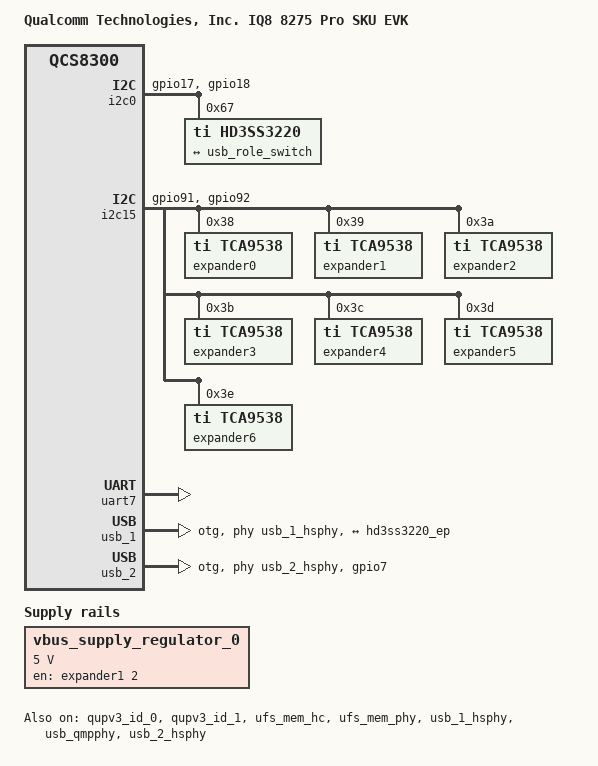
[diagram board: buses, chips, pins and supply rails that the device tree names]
// SPDX-License-Identifier: BSD-3-Clause
/*
 * Copyright (c) 2025 Qualcomm Innovation Center, Inc. All rights reserved.
 */

/dts-v1/;

#include <dt-bindings/gpio/gpio.h>
#include <dt-bindings/regulator/qcom,rpmh-regulator.h>
#include <dt-bindings/gpio/gpio.h>
#include <dt-bindings/spmi/spmi.h>
#include "qcs8300.dtsi"
#include "qcs8300-pmics.dtsi"

/delete-node/ &usb_1_dwc3;
/delete-node/ &usb_2_dwc3;
/ {
	model = "Qualcomm Technologies, Inc. IQ8 8275 Pro SKU EVK";
	compatible = "qcom,qcs8275-iq-8275-evk-pro-sku", "qcom,qcs8275", "qcom,qcs8300";

	qcom,msm-id = <675 0x10000>;
	qcom,board-id = <0x00010020 2>, <0x00010019 2>;

	aliases {
		serial0 = &uart7;
	};

	chosen {
		stdout-path = "serial0:115200n8";
	};
};

&apps_rsc {
	regulators-0 {
		compatible = "qcom,pmm8654au-rpmh-regulators";
		qcom,pmic-id = "a";

		vreg_l3a: ldo3 {
			regulator-name = "vreg_l3a";
			regulator-min-microvolt = <1200000>;
			regulator-max-microvolt = <1200000>;
			regulator-initial-mode = <RPMH_REGULATOR_MODE_HPM>;
			regulator-allow-set-load;
			regulator-allowed-modes = <RPMH_REGULATOR_MODE_LPM
						   RPMH_REGULATOR_MODE_HPM>;
		};

		vreg_l4a: ldo4 {
			regulator-name = "vreg_l4a";
			regulator-min-microvolt = <880000>;
			regulator-max-microvolt = <912000>;
			regulator-initial-mode = <RPMH_REGULATOR_MODE_HPM>;
			regulator-allow-set-load;
			regulator-allowed-modes = <RPMH_REGULATOR_MODE_LPM
						   RPMH_REGULATOR_MODE_HPM>;
		};

		vreg_l5a: ldo5 {
			regulator-name = "vreg_l5a";
			regulator-min-microvolt = <1200000>;
			regulator-max-microvolt = <1200000>;
			regulator-initial-mode = <RPMH_REGULATOR_MODE_HPM>;
			regulator-allow-set-load;
			regulator-allowed-modes = <RPMH_REGULATOR_MODE_LPM
						   RPMH_REGULATOR_MODE_HPM>;
		};

		vreg_l6a: ldo6 {
			regulator-name = "vreg_l6a";
			regulator-min-microvolt = <880000>;
			regulator-max-microvolt = <912000>;
			regulator-initial-mode = <RPMH_REGULATOR_MODE_HPM>;
			regulator-allow-set-load;
			regulator-allowed-modes = <RPMH_REGULATOR_MODE_LPM
						   RPMH_REGULATOR_MODE_HPM>;
		};

		vreg_l7a: ldo7 {
			regulator-name = "vreg_l7a";
			regulator-min-microvolt = <880000>;
			regulator-max-microvolt = <912000>;
			regulator-initial-mode = <RPMH_REGULATOR_MODE_HPM>;
			regulator-allow-set-load;
			regulator-allowed-modes = <RPMH_REGULATOR_MODE_LPM
						   RPMH_REGULATOR_MODE_HPM>;
		};

		vreg_l8a: ldo8 {
			regulator-name = "vreg_l8a";
			regulator-min-microvolt = <2504000>;
			regulator-max-microvolt = <2960000>;
			regulator-initial-mode = <RPMH_REGULATOR_MODE_HPM>;
			regulator-allow-set-load;
			regulator-allowed-modes = <RPMH_REGULATOR_MODE_LPM
						   RPMH_REGULATOR_MODE_HPM>;
		};

		vreg_l9a: ldo9 {
			regulator-name = "vreg_l9a";
			regulator-min-microvolt = <2970000>;
			regulator-max-microvolt = <3072000>;
			regulator-initial-mode = <RPMH_REGULATOR_MODE_HPM>;
			regulator-allow-set-load;
			regulator-allowed-modes = <RPMH_REGULATOR_MODE_LPM
						   RPMH_REGULATOR_MODE_HPM>;
		};
	};

	regulators-1 {
		compatible = "qcom,pmm8654au-rpmh-regulators";
		qcom,pmic-id = "c";

		vreg_s5c: smps5 {
			regulator-name = "vreg_s5c";
			regulator-min-microvolt = <1104000>;
			regulator-max-microvolt = <1104000>;
			regulator-initial-mode = <RPMH_REGULATOR_MODE_HPM>;
		};

		vreg_l1c: ldo1 {
			regulator-name = "vreg_l1c";
			regulator-min-microvolt = <300000>;
			regulator-max-microvolt = <512000>;
			regulator-initial-mode = <RPMH_REGULATOR_MODE_HPM>;
			regulator-allow-set-load;
			regulator-allowed-modes = <RPMH_REGULATOR_MODE_LPM
						   RPMH_REGULATOR_MODE_HPM>;
		};

		vreg_l2c: ldo2 {
			regulator-name = "vreg_l2c";
			regulator-min-microvolt = <900000>;
			regulator-max-microvolt = <904000>;
			regulator-initial-mode = <RPMH_REGULATOR_MODE_HPM>;
			regulator-allow-set-load;
			regulator-allowed-modes = <RPMH_REGULATOR_MODE_LPM
						   RPMH_REGULATOR_MODE_HPM>;
		};

		vreg_l4c: ldo4 {
			regulator-name = "vreg_l4c";
			regulator-min-microvolt = <1200000>;
			regulator-max-microvolt = <1200000>;
			regulator-initial-mode = <RPMH_REGULATOR_MODE_HPM>;
			regulator-allow-set-load;
			regulator-allowed-modes = <RPMH_REGULATOR_MODE_LPM
						   RPMH_REGULATOR_MODE_HPM>;
		};

		vreg_l7c: ldo7 {
			regulator-name = "vreg_l7c";
			regulator-min-microvolt = <1800000>;
			regulator-max-microvolt = <1800000>;
			regulator-initial-mode = <RPMH_REGULATOR_MODE_HPM>;
			regulator-allow-set-load;
			regulator-allowed-modes = <RPMH_REGULATOR_MODE_LPM
						   RPMH_REGULATOR_MODE_HPM>;
		};

		vreg_l8c: ldo8 {
			regulator-name = "vreg_l8c";
			regulator-min-microvolt = <1800000>;
			regulator-max-microvolt = <1800000>;
			regulator-initial-mode = <RPMH_REGULATOR_MODE_HPM>;
			regulator-allow-set-load;
			regulator-allowed-modes = <RPMH_REGULATOR_MODE_LPM
						   RPMH_REGULATOR_MODE_HPM>;
		};

		vreg_l9c: ldo9 {
			regulator-name = "vreg_l9c";
			regulator-min-microvolt = <1800000>;
			regulator-max-microvolt = <1800000>;
			regulator-initial-mode = <RPMH_REGULATOR_MODE_HPM>;
			regulator-allow-set-load;
			regulator-allowed-modes = <RPMH_REGULATOR_MODE_LPM
						   RPMH_REGULATOR_MODE_HPM>;
		};
	};
};

&i2c0 {
	pinctrl-0 = <&qup_i2c0_default>;
	pinctrl-names = "default";
	status = "okay";

	hd3ss3220@67 {
		compatible = "ti,hd3ss3220";
		reg = <0x67>;
		interrupts = < 45 IRQ_TYPE_EDGE_FALLING>;
		wakeup-source;

		connector@0 {
			compatible = "usb-c-connector";
			label = "USB-C";
			data-role = "dual";
			power-role = "dual";

			ports {
				#address-cells = <1>;
				#size-cells = <0>;

				port@0 {
					reg = <0>;
					hd3ss3220_ep: endpoint {
						remote-endpoint = <&usb_role_switch>;
					};
				};
			};
		};
	};
};

&i2c15 {
	pinctrl-0 = <&qup_i2c15_default>;
	pinctrl-names = "default";
	status = "okay";

	expander0: pca953x@38 {
		compatible = "ti,tca9538";
		#gpio-cells = <2>;
		gpio-controller;
		reg = <0x38>;
	};

	expander1: pca953x@39 {
		compatible = "ti,tca9538";
		#gpio-cells = <2>;
		gpio-controller;
		reg = <0x39>;

		io-exp-hog2 {
			gpio-hog;
			gpios = <2 GPIO_ACTIVE_HIGH>;
			output-low;
			line-name = "io_exp_gpio2";
		};
	};

	expander2: pca953x@3a {
		compatible = "ti,tca9538";
		#gpio-cells = <2>;
		gpio-controller;
		reg = <0x3a>;
	};

	expander3: pca953x@3b {
		compatible = "ti,tca9538";
		#gpio-cells = <2>;
		gpio-controller;
		reg = <0x3b>;
	};

	expander4: pca953x@3c {
		compatible = "ti,tca9538";
		#gpio-cells = <2>;
		gpio-controller;
		reg = <0x3c>;
	};

	expander5: pca953x@3d {
		compatible = "ti,tca9538";
		#gpio-cells = <2>;
		gpio-controller;
		reg = <0x3d>;
	};

	expander6: pca953x@3e {
		compatible = "ti,tca9538";
		#gpio-cells = <2>;
		gpio-controller;
		reg = <0x3e>;
	};

};

&pmm8650au_1_gpios {
	usb2_en_state: usb2-en-state {
		pins = "gpio7";
		function = "normal";
		output-high;
		power-source = <0>;
	};
};

&qupv3_id_0 {
	status = "okay";
};

&qupv3_id_1 {
	status = "okay";
};

&soc {
	vbus_supply_regulator_0: vbus_supply_regulator_0 {
		compatible = "regulator-fixed";
		regulator-name = "vbus_supply_0";
		gpio = <&expander1 2 GPIO_ACTIVE_HIGH>;
		regulator-min-microvolt = <5000000>;
		regulator-max-microvolt = <5000000>;
		enable-active-high;
	};
};

&tlmm {

	dp_hot_plug_det: dp-hot-plug-det-state {
	/* TODO: Add the required nodes once mdss_dp0 is available.*/
	};

	qup_i2c0_default: qup-i2c0-state {
		pins = "gpio17", "gpio18";
		function = "qup0_se0";
		drive-strength = <2>;
		bias-pull-up;
	};

	qup_i2c15_default: qup-i2c15-state {
		pins = "gpio91", "gpio92";
		function = "qup1_se7";
		drive-strength = <2>;
		bias-pull-up;
	};
};

&uart7 {
	status = "okay";
};

&ufs_mem_hc {
	reset-gpios = <&tlmm 133 GPIO_ACTIVE_LOW>;
	vcc-supply = <&vreg_l8a>;
	vcc-max-microamp = <1100000>;
	vccq-supply = <&vreg_l4c>;
	vccq-max-microamp = <1200000>;
	status = "okay";
};

&ufs_mem_phy {
	vdda-phy-supply = <&vreg_l4a>;
	vdda-pll-supply = <&vreg_l5a>;
	status = "okay";
};

&usb_1 {
	reg = <0x0 0x0a600000 0x0 0x20000>;

	interrupts-extended = <&intc GIC_SPI 292 IRQ_TYPE_LEVEL_HIGH>,
			      <&intc GIC_SPI 131 IRQ_TYPE_LEVEL_HIGH>,
			      <&pdc 14 IRQ_TYPE_EDGE_BOTH>,
			      <&pdc 15 IRQ_TYPE_EDGE_BOTH>,
			      <&pdc 12 IRQ_TYPE_LEVEL_HIGH>;
	interrupt-names = "dwc_usb3",
			  "pwr_event",
			  "dp_hs_phy_irq",
			  "dm_hs_phy_irq",
			  "ss_phy_irq";

	iommus = <&apps_smmu 0x80 0x0>;
	snps,dis_u2_susphy_quirk;
	snps,dis_enblslpm_quirk;
	phys = <&usb_1_hsphy>, <&usb_qmpphy>;
	phy-names = "usb2-phy", "usb3-phy";
	maximum-speed = "super-speed-plus";

	usb-role-switch;
	dr_mode = "otg";

	qcom,enable-rt;
	wakeup-source;
	maximum-speed = "super-speed";
	vbus_dwc3-supply = <&vbus_supply_regulator_0>;
	status = "okay";

	ports {

		#address-cells = <1>;
		#size-cells = <0>;

		port@0 {
			reg = <0>;
			usb_role_switch: endpoint {
				remote-endpoint = <&hd3ss3220_ep>;
			};
		};

	};
};

&usb_1_hsphy {
	vdda-pll-supply = <&vreg_l7a>;
	vdda18-supply = <&vreg_l7c>;
	vdda33-supply = <&vreg_l9a>;

	status = "okay";
};

&usb_qmpphy {
	vdda-phy-supply = <&vreg_l7a>;
	vdda-pll-supply = <&vreg_l5a>;

	status = "okay";
};

&usb_2 {
	reg = <0x0 0x0a400000 0x0 0x200000>;

	interrupts-extended = <&intc GIC_SPI 442 IRQ_TYPE_LEVEL_HIGH>,
				<&intc GIC_SPI 444 IRQ_TYPE_LEVEL_HIGH>,
				<&pdc 10 IRQ_TYPE_EDGE_BOTH>,
				<&pdc 9 IRQ_TYPE_EDGE_BOTH>;
	interrupt-names = "dwc_usb2",
			"pwr_event",
			"dp_hs_phy_irq",
			"dm_hs_phy_irq";

	iommus = <&apps_smmu 0x20 0x0>;
	phys = <&usb_2_hsphy>;
	phy-names = "usb2-phy";
	maximum-speed = "high-speed";

	dr_mode = "otg";
	usb-role-switch;
	role-switch-default-mode = "host";
	qcom,enable-rt;
	wakeup-source;

	pinctrl-names = "default";
	pinctrl-0 = <&usb2_en_state>;

	status = "okay";
};

&usb_2_hsphy {
	vdda-pll-supply = <&vreg_l7a>;
	vdda18-supply = <&vreg_l7c>;
	vdda33-supply = <&vreg_l9a>;

	status = "okay";
};
